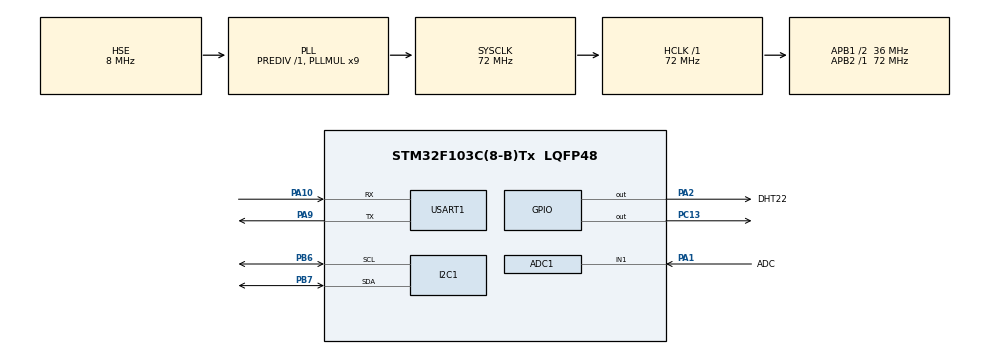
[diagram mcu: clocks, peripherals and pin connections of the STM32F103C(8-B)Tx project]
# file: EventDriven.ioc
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ADC1.Channel-0\#ChannelRegularConversion=ADC_CHANNEL_1
ADC1.NbrOfConversionFlag=1
ADC1.Rank-0\#ChannelRegularConversion=1
ADC1.SamplingTime-0\#ChannelRegularConversion=ADC_SAMPLETIME_1CYCLE_5
ADC1.master=1
Mcu.Family=STM32F1
Mcu.Name=STM32F103C(8-B)Tx
Mcu.Package=LQFP48
NVIC.PriorityGroup=NVIC_PRIORITYGROUP_4
NVIC.TIM2_IRQn=true\:2\:0\:true\:false\:true\:true\:true\:true
NVIC.USART1_IRQn=true\:1\:0\:true\:false\:true\:true\:true\:true
PA1.GPIO_Label=ADC
PA1.Signal=ADCx_IN1
PA10.Mode=Asynchronous
PA10.Signal=USART1_RX
PA13.Mode=Serial_Wire
PA13.Signal=SYS_JTMS-SWDIO
PA14.Mode=Serial_Wire
PA14.Signal=SYS_JTCK-SWCLK
PA2.GPIO_Label=DHT22
PA2.Signal=GPIO_Output
PA9.Mode=Asynchronous
PA9.Signal=USART1_TX
PB6.Mode=I2C
PB6.Signal=I2C1_SCL
PB7.Mode=I2C
PB7.Signal=I2C1_SDA
PC13-TAMPER-RTC.Signal=GPIO_Output
PD0-OSC_IN.Mode=HSE-External-Oscillator
PD0-OSC_IN.Signal=RCC_OSC_IN
PD1-OSC_OUT.Mode=HSE-External-Oscillator
PD1-OSC_OUT.Signal=RCC_OSC_OUT
ProjectManager.HeapSize=0x200
ProjectManager.StackSize=0x400
ProjectManager.TargetToolchain=STM32CubeIDE
RCC.ADCPresc=RCC_ADCPCLK2_DIV6
RCC.AHBFreq_Value=72000000
RCC.APB1CLKDivider=RCC_HCLK_DIV2
RCC.APB1Freq_Value=36000000
RCC.APB1TimFreq_Value=72000000
RCC.APB2Freq_Value=72000000
RCC.APB2TimFreq_Value=72000000
RCC.HCLKFreq_Value=72000000
RCC.PLLMUL=RCC_PLL_MUL9
RCC.PLLSourceVirtual=RCC_PLLSOURCE_HSE
RCC.SYSCLKFreq_VALUE=72000000
RCC.SYSCLKSource=RCC_SYSCLKSOURCE_PLLCLK
RCC.USBFreq_Value=72000000
SH.ADCx_IN1.0=ADC1_IN1,IN1
TIM1.Prescaler=71
TIM2.Period=9
TIM2.Prescaler=7199
USART1.VirtualMode=VM_ASYNC
VP_TIM1_VS_ClockSourceINT.Mode=Internal
VP_TIM2_VS_ClockSourceINT.Mode=Internal
board=custom

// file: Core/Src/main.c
/* USER CODE BEGIN Header */
/**
  ******************************************************************************
  * @file           : main.c
  * @brief          : Main program body
  ******************************************************************************
  * @attention
  *
  * Copyright (c) 2026 STMicroelectronics.
  * All rights reserved.
  *
  * This software is licensed under terms that can be found in the LICENSE file
  * in the root directory of this software component.
  * If no LICENSE file comes with this software, it is provided AS-IS.
  *
  ******************************************************************************
  */
/* USER CODE END Header */
#include "main.h"
#include "adc.h"
#include "i2c.h"
#include "tim.h"
#include "usart.h"
#include "gpio.h"
/* USER CODE BEGIN Includes */
#include "SHT3X.h"
#include "DHT22.h"
#include "I2CLCD.h"
#include <stdio.h>
#include <string.h>
/* USER CODE END Includes */

/* USER CODE BEGIN PTD */
typedef enum {
    EVENT_NONE = 0,
    EVENT_GAS_READ,
	EVENT_TEMP_READ,
	EVENT_LCD,
	EVENT_ISR,
    EVENT_UART_CONTINUE,
} Event_t;
DHT22_HandleTypeDef dht;
DHT22_Data_t dht_data;
#define EVENT_QUEUE_SIZE 15
volatile Event_t event_queue[EVENT_QUEUE_SIZE];
volatile int8_t qhead = 0, qtail = 0;
/* USER CODE END PTD */

/* USER CODE BEGIN PV */
volatile uint8_t rx_buffer[50];
volatile uint8_t rx_index = 0;
volatile uint8_t rx_byte;
volatile uint16_t period_ADC = 1000;
volatile uint16_t period_temp = 3000;
volatile uint16_t period_LCD = 4000;
volatile uint16_t timer_ADC = 0;
volatile uint16_t timer_temp = 0;
volatile uint16_t timer_LCD = 0;
char uart_tx_buf[32];
uint32_t ADC_val = 0;
float t, h;
char lcd_line1[16];
char lcd_line2[16];
uint8_t status;
uint8_t flag = 0;
/* USER CODE END PV */

void SystemClock_Config(void);
/* USER CODE BEGIN PFP */
void Push_Event(Event_t event) {
    uint32_t primask = __get_PRIMASK();
    __disable_irq(); // Khóa ngắt tạm thời

    int8_t next_tail = (qtail + 1) % EVENT_QUEUE_SIZE;
    if (next_tail != qhead) {
        event_queue[qtail] = event;
        qtail = next_tail;
    }

    __set_PRIMASK(primask); // Khôi phục trạng thái ngắt
}

Event_t Pop_Event(void) {
    if (qhead == qtail) return EVENT_NONE;
    Event_t event = event_queue[qhead];
    qhead = (qhead + 1) % EVENT_QUEUE_SIZE;
    return event;
}

void HAL_UART_RxCpltCallback(UART_HandleTypeDef *huart) {
    if (huart->Instance == USART1) {
        // Kiểm tra ký tự kết thúc lệnh
        if (rx_byte == '\n' || rx_byte == '\r') {
            if (rx_index > 0) {
                rx_buffer[rx_index] = '\0'; // Kết thúc chuỗi an toàn
                Push_Event(EVENT_ISR); // Đẩy task xử lý lệnh vào hàng đợi
            }
        }
        else {
            if (rx_byte >= 32 && rx_byte <= 126) {
                if (rx_index < (sizeof(rx_buffer) - 1)) {
                    rx_buffer[rx_index++] = rx_byte;
                }
            }
        }
        HAL_UART_Receive_IT(&huart1, (uint8_t*)&rx_byte, 1);
    }
}

void Check_UART_Error(UART_HandleTypeDef *huart) {
    if (__HAL_UART_GET_FLAG(huart, UART_FLAG_ORE) != RESET) {
        __HAL_UART_CLEAR_OREFLAG(huart); // Xóa cờ lỗi Overrun

        // Kích hoạt lại việc nhận ngắt vì khi có lỗi ORE, HAL sẽ dừng nhận dữ liệu
        HAL_UART_Receive_IT(huart, (uint8_t*)&rx_byte, 1);

        // Debug: Nháy LED hoặc gửi chuỗi báo lỗi để biết hệ thống vừa bị tràn
        //HAL_GPIO_TogglePin(GPIOC, GPIO_PIN_13);
    }
}
void Task_ADC(void){
    HAL_ADC_Start(&hadc1);
    if(HAL_ADC_PollForConversion(&hadc1, 10) == HAL_OK){
        ADC_val = HAL_ADC_GetValue(&hadc1);
    }
    HAL_ADC_Stop(&hadc1);
}
void Task_UART(void) {
    uint8_t len = strlen(uart_tx_buf);
    if (len > 0) {
        if (HAL_UART_Transmit(&huart1, (uint8_t*)uart_tx_buf, len, 100) == HAL_OK) {
            uart_tx_buf[0] = '\0';
            memset(uart_tx_buf, 0, sizeof(uart_tx_buf));
        }
    }
}
void Task_Read_Sensor(void) {
    if (flag == 0) {
        status = SHT31_ReadData(&t, &h);
    } else {
    	int res = DHT22_Read(&dht, &dht_data);
        if(res==0){
        	status = 1;
        	t = dht_data.Temperature;
        }
        else{
        	int len = snprintf(uart_tx_buf, sizeof(uart_tx_buf), "%d", res);
        	HAL_UART_Transmit(&huart1, (uint8_t*)uart_tx_buf, len, 100);
        }
    }
}
void Task_LCD(void) {
    char buf[16];

    //lcd_clear();

    lcd_put_cur(0, 0);
    if(status) {
        snprintf(buf, sizeof(buf), "Temp: %.1f C", t);
    } else {
        snprintf(buf, sizeof(buf), "Temp: Error");
    }
    lcd_send_string(buf);

    lcd_put_cur(1, 0);
    snprintf(buf, sizeof(buf), "Gas: %lu", ADC_val);
    lcd_send_string(buf);
}
void Task_ISR(void) {
    if (strstr((char*)rx_buffer, "SET_PERIOD") != NULL) {
        char target[10] = {0};
        int val = 0;
        if (sscanf((char*)rx_buffer, "SET_PERIOD:%9[^:]:%d", target, &val) == 2) {
        	if (strcmp(target, "ADC") == 0) {
        		period_ADC = (uint16_t)val;
                timer_ADC = 0;
                HAL_UART_Transmit(&huart1, (uint8_t*)"ADC OK\r\n", 8, 10);
            } else if (strcmp(target, "DHT") == 0 || strcmp(target, "SENSOR") == 0) {
                period_temp = (uint16_t)val;
                timer_temp = 0;
                HAL_UART_Transmit(&huart1, (uint8_t*)"TEMP OK\r\n", 9, 10);
            }
        }
    }
    else if (strstr((char*)rx_buffer, "MODE:SHT") != NULL) {
        flag = 0;
        HAL_UART_Transmit(&huart1, (uint8_t*)"MODE SHT\r\n", 10, 10);
    }
    else if (strstr((char*)rx_buffer, "MODE:DHT") != NULL) {
        flag = 1;
        HAL_UART_Transmit(&huart1, (uint8_t*)"MODE DHT\r\n", 10, 10);
    }
    uint32_t primask = __get_PRIMASK();
    __disable_irq();
    rx_index = 0;
    memset((uint8_t*)rx_buffer, 0, sizeof(rx_buffer));
    __set_PRIMASK(primask);
}
/* USER CODE END PFP */

/* USER CODE BEGIN 0 */
void HAL_TIM_PeriodElapsedCallback(TIM_HandleTypeDef *htim) {
    if (htim->Instance == TIM2) {
        timer_ADC++;
        timer_temp++;
        timer_LCD++;

        if (timer_ADC >= period_ADC) {
                    // Kiểm tra xem hàng đợi có còn chỗ không trước khi đẩy
                    int8_t next_tail = (qtail + 1) % EVENT_QUEUE_SIZE;
                    if (next_tail != qhead) {
                        Push_Event(EVENT_GAS_READ);
                    }
                    timer_ADC = 0;
                }
        if (timer_temp >= period_temp) {
            Push_Event(EVENT_TEMP_READ);
            timer_temp = 0;
        }
        if (timer_LCD >= period_LCD) {
            Push_Event(EVENT_LCD);
            timer_LCD = 0;
        }
    }
}
/* USER CODE END 0 */

int main(void)
{

  /* MCU Configuration--------------------------------------------------------*/

  /* Reset of all peripherals, Initializes the Flash interface and the Systick. */
  HAL_Init();

  /* Configure the system clock */
  SystemClock_Config();

  /* Initialize all configured peripherals */
  MX_GPIO_Init();
  MX_ADC1_Init();
  MX_USART1_UART_Init();
  MX_TIM2_Init();
  MX_I2C1_Init();
  MX_TIM1_Init();
  /* USER CODE BEGIN 2 */
  SHT31_Init();
  lcd_init ();
  HAL_TIM_Base_Start_IT(&htim2); // Ngắt 1ms
  HAL_TIM_Base_Start(&htim1);
  dht.htim = &htim1;
  dht.GPIOx = GPIOA;
  dht.GPIO_Pin = GPIO_PIN_2;
  DHT22_Init(&dht);
  HAL_UART_Receive_IT(&huart1, (uint8_t*)&rx_byte, 1);
  HAL_DBGMCU_EnableDBGSleepMode();
  /* USER CODE END 2 */

  /* Infinite loop */
  /* USER CODE BEGIN WHILE */
  while (1)
      {
	  Check_UART_Error(&huart1);
	  Event_t current_e = Pop_Event();

	  if (current_e != EVENT_NONE) {
		  switch(current_e) {
		  case EVENT_GAS_READ:
			  if (uart_tx_buf[0] == '\0') {
				  Task_ADC();
				  snprintf(uart_tx_buf, sizeof(uart_tx_buf), "ADC: %lu\r\n", ADC_val);
				  Task_UART();
			  } else {
				  Push_Event(EVENT_GAS_READ);
			  }
			  break;

		  case EVENT_TEMP_READ:
			  if (uart_tx_buf[0] == '\0') {
				  Task_Read_Sensor();
				  const char* name = (flag == 0) ? "SHT31" : "DHT22";
				  snprintf(uart_tx_buf, sizeof(uart_tx_buf), "%s: %.1f C\r\n", name, t);
				  Task_UART();
			  } else {
				  Push_Event(EVENT_TEMP_READ);
			  }
			  break;

		  case EVENT_LCD:
			  Task_LCD();
			  break;

		  case EVENT_ISR:
			  Task_ISR();
			  break;

		  default: break;
		  }
	  } else {
		  HAL_PWR_EnterSLEEPMode(PWR_MAINREGULATOR_ON, PWR_SLEEPENTRY_WFI);
	  }
      }
  /* USER CODE END 3 */
}

void SystemClock_Config(void)
{
  RCC_OscInitTypeDef RCC_OscInitStruct = {0};
  RCC_ClkInitTypeDef RCC_ClkInitStruct = {0};
  RCC_PeriphCLKInitTypeDef PeriphClkInit = {0};

  /** Initializes the RCC Oscillators according to the specified parameters
  * in the RCC_OscInitTypeDef structure.
  */
  RCC_OscInitStruct.OscillatorType = RCC_OSCILLATORTYPE_HSE;
  RCC_OscInitStruct.HSEState = RCC_HSE_ON;
  RCC_OscInitStruct.HSEPredivValue = RCC_HSE_PREDIV_DIV1;
  RCC_OscInitStruct.HSIState = RCC_HSI_ON;
  RCC_OscInitStruct.PLL.PLLState = RCC_PLL_ON;
  RCC_OscInitStruct.PLL.PLLSource = RCC_PLLSOURCE_HSE;
  RCC_OscInitStruct.PLL.PLLMUL = RCC_PLL_MUL9;
  if (HAL_RCC_OscConfig(&RCC_OscInitStruct) != HAL_OK)
  {
    Error_Handler();
  }

  /** Initializes the CPU, AHB and APB buses clocks
  */
  RCC_ClkInitStruct.ClockType = RCC_CLOCKTYPE_HCLK|RCC_CLOCKTYPE_SYSCLK
                              |RCC_CLOCKTYPE_PCLK1|RCC_CLOCKTYPE_PCLK2;
  RCC_ClkInitStruct.SYSCLKSource = RCC_SYSCLKSOURCE_PLLCLK;
  RCC_ClkInitStruct.AHBCLKDivider = RCC_SYSCLK_DIV1;
  RCC_ClkInitStruct.APB1CLKDivider = RCC_HCLK_DIV2;
  RCC_ClkInitStruct.APB2CLKDivider = RCC_HCLK_DIV1;

  if (HAL_RCC_ClockConfig(&RCC_ClkInitStruct, FLASH_LATENCY_2) != HAL_OK)
  {
    Error_Handler();
  }
  PeriphClkInit.PeriphClockSelection = RCC_PERIPHCLK_ADC;
  PeriphClkInit.AdcClockSelection = RCC_ADCPCLK2_DIV6;
  if (HAL_RCCEx_PeriphCLKConfig(&PeriphClkInit) != HAL_OK)
  {
    Error_Handler();
  }
}

void Error_Handler(void)
{
  __disable_irq();
  while (1)
  {
  }
}
